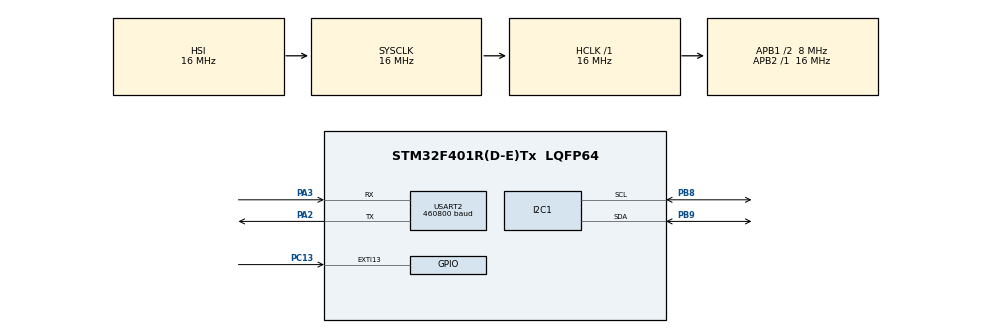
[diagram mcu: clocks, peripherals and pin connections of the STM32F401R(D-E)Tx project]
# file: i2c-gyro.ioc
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Mcu.Family=STM32F4
Mcu.Name=STM32F401R(D-E)Tx
Mcu.Package=LQFP64
NVIC.EXTI15_10_IRQn=true\:0\:0\:false\:false\:true\:true\:true\:true
NVIC.PriorityGroup=NVIC_PRIORITYGROUP_4
NVIC.TIM1_UP_TIM10_IRQn=true\:0\:0\:false\:false\:true\:true\:true\:true
PA2.Mode=Asynchronous
PA2.Signal=USART2_TX
PA3.Mode=Asynchronous
PA3.Signal=USART2_RX
PB8.GPIO_Pu=GPIO_PULLUP
PB8.Mode=I2C
PB8.Signal=I2C1_SCL
PB9.GPIO_Pu=GPIO_PULLUP
PB9.Mode=I2C
PB9.Signal=I2C1_SDA
PC13-ANTI_TAMP.GPIO_ModeDefaultEXTI=GPIO_MODE_IT_RISING_FALLING
PC13-ANTI_TAMP.Signal=GPXTI13
ProjectManager.HeapSize=0x200
ProjectManager.StackSize=0x400
ProjectManager.TargetToolchain=CMake
RCC.48MHZClocksFreq_Value=80000000
RCC.AHBFreq_Value=16000000
RCC.APB1CLKDivider=RCC_HCLK_DIV2
RCC.APB1Freq_Value=8000000
RCC.APB1TimFreq_Value=16000000
RCC.APB2Freq_Value=16000000
RCC.APB2TimFreq_Value=16000000
RCC.CortexFreq_Value=16000000
RCC.HCLKFreq_Value=16000000
RCC.HSE_VALUE=25000000
RCC.HSI_VALUE=16000000
RCC.LSE_VALUE=32768
RCC.PLLN=320
RCC.PLLP=RCC_PLLP_DIV4
RCC.SYSCLKFreq_VALUE=16000000
RCC.VCOOutputFreq_Value=320000000
TIM1.Period=9
TIM1.Prescaler=7999
USART2.BaudRate=460800
USART2.VirtualMode=VM_ASYNC
VP_TIM1_VS_ClockSourceINT.Mode=Internal
board=custom

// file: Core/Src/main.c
/* USER CODE BEGIN Header */
/**
  ******************************************************************************
  * @file           : main.c
  * @brief          : Main program body
  ******************************************************************************
  * @attention
  *
  * Copyright (c) 2026 STMicroelectronics.
  * All rights reserved.
  *
  * This software is licensed under terms that can be found in the LICENSE file
  * in the root directory of this software component.
  * If no LICENSE file comes with this software, it is provided AS-IS.
  *
  ******************************************************************************
  */
/* USER CODE END Header */
#include "main.h"

/* USER CODE BEGIN Includes */
#include <stdbool.h>
#include <stdio.h>
#include <string.h>

#include "mpu6050.h"
/* USER CODE END Includes */

/* USER CODE BEGIN PD */
#define IMU_DT 0.005f
#define SAMPLES 10U
#define BUTTON_PIN  GPIO_PIN_13
#define DEBOUNCE_MS 20U
/* USER CODE END PD */

I2C_HandleTypeDef hi2c1;

TIM_HandleTypeDef htim1;

UART_HandleTypeDef huart2;

/* USER CODE BEGIN PV */
MPU6050 mpu;
MPU6050_Data imu_data;
uint32_t counter = 0;
char uart_buffer[256];
volatile uint8_t timer_flag = 0;
static IMU_Estimate estimate = {0};
static float sum_gx = 0.0f, sum_gy = 0.0f, sum_gz = 0.0f;
static volatile uint32_t button_irq_time = 0;
static volatile uint8_t button_irq_pending = 0;
static GPIO_PinState stable_state = GPIO_PIN_RESET;

/* USER CODE END PV */

void SystemClock_Config(void);
static void MX_GPIO_Init(void);
static void MX_I2C1_Init(void);
static void MX_TIM1_Init(void);
static void MX_USART2_UART_Init(void);

/* USER CODE BEGIN 0 */

void calibration_sequence() {
  HAL_UART_Transmit(&huart2,"c1\n", 3, 2);
  HAL_Delay(500);
  if (MPU6050_Calibrate(
          &mpu,
          MPU6050_CALIBRATION_SAMPLES
      ) != HAL_OK) {
    Error_Handler();
      }
  HAL_UART_Transmit(&huart2,"c0\n", 3, 2);

}
void imu_setup(void)
{
  // Initialize the MPU6050
  if (MPU6050_Init(&mpu, &hi2c1, MPU6050_ADDR_LOW) != HAL_OK) {
    Error_Handler();
  }

  // Keep the sensor stationary and level during calibration
  calibration_sequence();

//   const char *msg = "MPU6050 initialized and calibrated\r\n";
//   HAL_UART_Transmit(
//       &huart2,
//       (uint8_t *)msg,
//       strlen(msg),
//       HAL_MAX_DELAY
//   );
}

void imu_update_estimate(void)
{
  if (MPU6050_ReadData(&mpu, &imu_data) != HAL_OK) {
    return;
  }

  // Update orientation and position every 10 ms.
  IMU_Update(&estimate, &imu_data, IMU_DT);

  // Accumulate calibrated angular velocities (deg/s).
  sum_gx += imu_data.gx;
  sum_gy += imu_data.gy;
  sum_gz += imu_data.gz;

  if (++counter >= 5) {
    int len = snprintf(
        uart_buffer,
        sizeof(uart_buffer),
        "R=%.2f,P=%.2f,Y=%.2f\r\n",
        (double)estimate.roll,
        (double)estimate.pitch,
        (double)estimate.yaw
    );

    if (len > 0 && len < (int)sizeof(uart_buffer)) {
      HAL_UART_Transmit(
          &huart2,
          (uint8_t *)uart_buffer,
          (uint16_t)len,
          10
      );
    }

    sum_gx = 0.0f;
    sum_gy = 0.0f;
    sum_gz = 0.0f;
    counter = 0;
  }
}
bool button_pressed_event(void)
{
  if (!button_irq_pending)
    return false;

  uint32_t now = HAL_GetTick();

  if ((uint32_t)(now - button_irq_time) < DEBOUNCE_MS)
    return false;

  // Briefly protect the shared state while consuming the event.
  __disable_irq();
  button_irq_pending = 0;
  __enable_irq();

  GPIO_PinState current =
      HAL_GPIO_ReadPin(GPIOC, BUTTON_PIN);

  if (current != stable_state)
  {
    stable_state = current;

    if (current == GPIO_PIN_SET)
      return true;
  }

  return false;
}
void HAL_TIM_PeriodElapsedCallback(TIM_HandleTypeDef *htim)
{
  if (htim->Instance == TIM1) {
    timer_flag = 1;
  }
}

void HAL_GPIO_EXTI_Callback(uint16_t GPIO_Pin)
{
  if (GPIO_Pin == GPIO_PIN_13)
  {
    button_irq_time = HAL_GetTick();
    button_irq_pending = 1;
  }
}

/* USER CODE END 0 */

int main(void)
{

  /* MCU Configuration--------------------------------------------------------*/

  /* Reset of all peripherals, Initializes the Flash interface and the Systick. */
  HAL_Init();

  /* Configure the system clock */
  SystemClock_Config();

  /* Initialize all configured peripherals */
  MX_GPIO_Init();
  MX_I2C1_Init();
  MX_TIM1_Init();
  MX_USART2_UART_Init();
  /* USER CODE BEGIN 2 */
  HAL_TIM_Base_Start_IT(&htim1);
  imu_setup();
  /* USER CODE END 2 */

  /* Infinite loop */
  /* USER CODE BEGIN WHILE */
  while (1)
  {
    if (timer_flag) {
      timer_flag = 0;
      imu_update_estimate();
    }
    if (button_pressed_event())
      calibration_sequence();

    /* USER CODE END WHILE */

  }
}

void SystemClock_Config(void)
{
  RCC_OscInitTypeDef RCC_OscInitStruct = {0};
  RCC_ClkInitTypeDef RCC_ClkInitStruct = {0};

  /** Configure the main internal regulator output voltage
  */
  __HAL_RCC_PWR_CLK_ENABLE();
  __HAL_PWR_VOLTAGESCALING_CONFIG(PWR_REGULATOR_VOLTAGE_SCALE2);

  /** Initializes the RCC Oscillators according to the specified parameters
  * in the RCC_OscInitTypeDef structure.
  */
  RCC_OscInitStruct.OscillatorType = RCC_OSCILLATORTYPE_HSI;
  RCC_OscInitStruct.HSIState = RCC_HSI_ON;
  RCC_OscInitStruct.HSICalibrationValue = RCC_HSICALIBRATION_DEFAULT;
  RCC_OscInitStruct.PLL.PLLState = RCC_PLL_NONE;
  if (HAL_RCC_OscConfig(&RCC_OscInitStruct) != HAL_OK)
  {
    Error_Handler();
  }

  /** Initializes the CPU, AHB and APB buses clocks
  */
  RCC_ClkInitStruct.ClockType = RCC_CLOCKTYPE_HCLK|RCC_CLOCKTYPE_SYSCLK
                              |RCC_CLOCKTYPE_PCLK1|RCC_CLOCKTYPE_PCLK2;
  RCC_ClkInitStruct.SYSCLKSource = RCC_SYSCLKSOURCE_HSI;
  RCC_ClkInitStruct.AHBCLKDivider = RCC_SYSCLK_DIV1;
  RCC_ClkInitStruct.APB1CLKDivider = RCC_HCLK_DIV2;
  RCC_ClkInitStruct.APB2CLKDivider = RCC_HCLK_DIV1;

  if (HAL_RCC_ClockConfig(&RCC_ClkInitStruct, FLASH_LATENCY_0) != HAL_OK)
  {
    Error_Handler();
  }
}

static void MX_I2C1_Init(void)
{

  hi2c1.Instance = I2C1;
  hi2c1.Init.ClockSpeed = 100000;
  hi2c1.Init.DutyCycle = I2C_DUTYCYCLE_2;
  hi2c1.Init.OwnAddress1 = 0;
  hi2c1.Init.AddressingMode = I2C_ADDRESSINGMODE_7BIT;
  hi2c1.Init.DualAddressMode = I2C_DUALADDRESS_DISABLE;
  hi2c1.Init.OwnAddress2 = 0;
  hi2c1.Init.GeneralCallMode = I2C_GENERALCALL_DISABLE;
  hi2c1.Init.NoStretchMode = I2C_NOSTRETCH_DISABLE;
  if (HAL_I2C_Init(&hi2c1) != HAL_OK)
  {
    Error_Handler();
  }

}

static void MX_TIM1_Init(void)
{

  TIM_ClockConfigTypeDef sClockSourceConfig = {0};
  TIM_MasterConfigTypeDef sMasterConfig = {0};

  htim1.Instance = TIM1;
  htim1.Init.Prescaler = 7999;
  htim1.Init.CounterMode = TIM_COUNTERMODE_UP;
  htim1.Init.Period = 9;
  htim1.Init.ClockDivision = TIM_CLOCKDIVISION_DIV1;
  htim1.Init.RepetitionCounter = 0;
  htim1.Init.AutoReloadPreload = TIM_AUTORELOAD_PRELOAD_DISABLE;
  if (HAL_TIM_Base_Init(&htim1) != HAL_OK)
  {
    Error_Handler();
  }
  sClockSourceConfig.ClockSource = TIM_CLOCKSOURCE_INTERNAL;
  if (HAL_TIM_ConfigClockSource(&htim1, &sClockSourceConfig) != HAL_OK)
  {
    Error_Handler();
  }
  sMasterConfig.MasterOutputTrigger = TIM_TRGO_RESET;
  sMasterConfig.MasterSlaveMode = TIM_MASTERSLAVEMODE_DISABLE;
  if (HAL_TIMEx_MasterConfigSynchronization(&htim1, &sMasterConfig) != HAL_OK)
  {
    Error_Handler();
  }

}

static void MX_USART2_UART_Init(void)
{

  huart2.Instance = USART2;
  huart2.Init.BaudRate = 460800;
  huart2.Init.WordLength = UART_WORDLENGTH_8B;
  huart2.Init.StopBits = UART_STOPBITS_1;
  huart2.Init.Parity = UART_PARITY_NONE;
  huart2.Init.Mode = UART_MODE_TX_RX;
  huart2.Init.HwFlowCtl = UART_HWCONTROL_NONE;
  huart2.Init.OverSampling = UART_OVERSAMPLING_16;
  if (HAL_UART_Init(&huart2) != HAL_OK)
  {
    Error_Handler();
  }

}

static void MX_GPIO_Init(void)
{
  GPIO_InitTypeDef GPIO_InitStruct = {0};

  /* GPIO Ports Clock Enable */
  __HAL_RCC_GPIOC_CLK_ENABLE();
  __HAL_RCC_GPIOA_CLK_ENABLE();
  __HAL_RCC_GPIOB_CLK_ENABLE();

  /*Configure GPIO pin : PC13 */
  GPIO_InitStruct.Pin = GPIO_PIN_13;
  GPIO_InitStruct.Mode = GPIO_MODE_IT_RISING_FALLING;
  GPIO_InitStruct.Pull = GPIO_NOPULL;
  HAL_GPIO_Init(GPIOC, &GPIO_InitStruct);

  /* EXTI interrupt init*/
  HAL_NVIC_SetPriority(EXTI15_10_IRQn, 0, 0);
  HAL_NVIC_EnableIRQ(EXTI15_10_IRQn);

}

void Error_Handler(void)
{
  __disable_irq();
  while (1)
  {
  }
}
